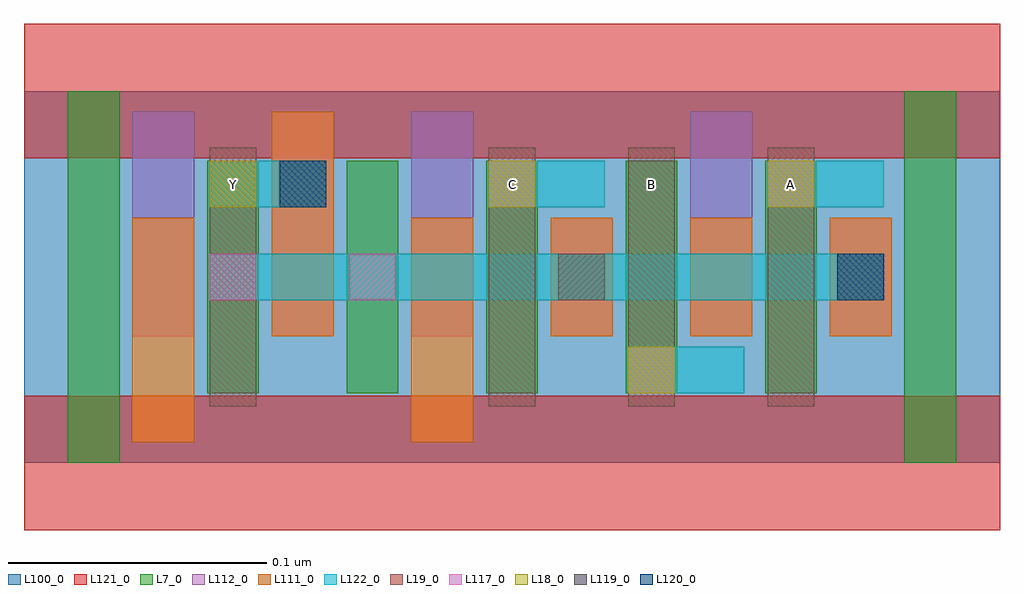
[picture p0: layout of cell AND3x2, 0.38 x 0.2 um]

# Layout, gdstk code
import gdstk
lib = gdstk.Library(unit=1e-6, precision=2.5e-10)
def R(c, l, rs):  # rectangles x0, y0, x1, y1
    for r in rs: c.add(gdstk.rectangle(r[:2], r[2:], *l))
def A(c, l, x, y, w, h, nx, ny, dx, dy):  # array of equal rectangles
    R(c, l, [(x+i*dx, y+j*dy, x+i*dx+w, y+j*dy+h) for i in range(nx) for j in range(ny)])
L7_0 = (7, 0)
L18_0 = (18, 0)
L19_0 = (19, 0)
L100_0 = (100, 0)
L111_0 = (111, 0)
L112_0 = (112, 0)
L117_0 = (117, 0)
L119_0 = (119, 0)
L120_0 = (120, 0)
L121_0 = (121, 0)
L122_0 = (122, 0)

and3x2 = lib.new_cell('AND3x2')
A(and3x2, L7_0, 0.071, 0.027, 0.02, 0.09, 5, 1, 0.054, 0)
R(and3x2, L7_0, [(0.017,0,0.037,0.144), (0.341,0,0.361,0.144)])
A(and3x2, L18_0, 0.072, 0.099, 0.018, 0.018, 3, 1, 0.108, 0)
R(and3x2, L18_0, [(0.234,0.027,0.252,0.045)])
A(and3x2, L19_0, 0.18, 0.022, 0.018, 0.1, 3, 1, 0.054, 0)
R(and3x2, L19_0, [(0.072,0.022,0.09,0.122)])
R(and3x2, L100_0, [(0,0,0.378,0.144)])
A(and3x2, L111_0, 0.204, 0.049, 0.024, 0.046, 3, 1, 0.054, 0)
R(and3x2, L111_0, [(0.042,0.008,0.066,0.095), (0.15,0.008,0.174,0.095), (0.096,0.049,0.12,0.136)])
A(and3x2, L112_0, 0.042, 0.049, 0.024, 0.087, 3, 1, 0.054, 0)
R(and3x2, L112_0, [(0.204,0.049,0.228,0.095), (0.258,0.049,0.282,0.136), (0.312,0.049,0.336,0.095)])
R(and3x2, L117_0, [(0.234,0.027,0.252,0.045), (0.072,0.063,0.09,0.081), (0.126,0.063,0.144,0.081), (0.18,0.099,0.198,0.117), (0.288,0.099,0.306,0.117)])
R(and3x2, L119_0, [(0.207,0.063,0.225,0.081), (0.315,0.063,0.333,0.081), (0.099,0.099,0.117,0.117)])
R(and3x2, L120_0, [(0.315,0.063,0.333,0.081), (0.099,0.099,0.117,0.117)])
R(and3x2, L121_0, [(0,-0.026,0.378,0.026), (0,0.118,0.378,0.17)])
A(and3x2, L122_0, 0.072, 0.099, 0.045, 0.018, 3, 1, 0.108, 0)
R(and3x2, L122_0, [(0.234,0.027,0.279,0.045), (0.072,0.063,0.333,0.081)])
and3x2.add(gdstk.Label('Y', (0.081,0.108), layer=19, texttype=251))
and3x2.add(gdstk.Label('C', (0.189,0.108), layer=19, texttype=251))
and3x2.add(gdstk.Label('B', (0.243,0.108), layer=19, texttype=251))
and3x2.add(gdstk.Label('A', (0.297,0.108), layer=19, texttype=251))

lib.write_gds('AND3x2.gds')
